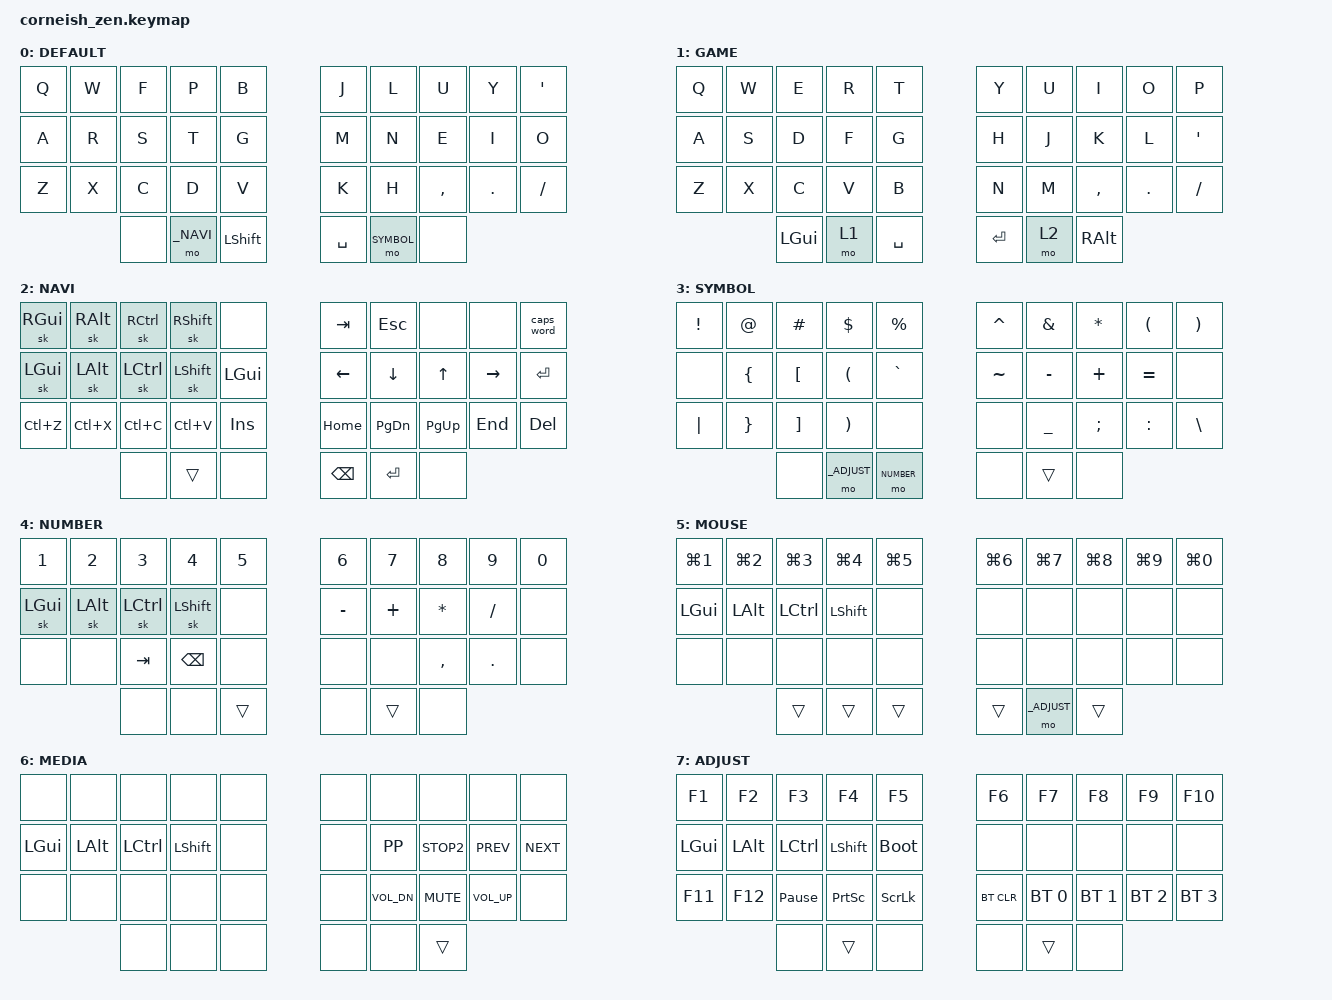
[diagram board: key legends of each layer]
#include <behaviors.dtsi>
#include <dt-bindings/zmk/keys.h>
#include <dt-bindings/zmk/bt.h>

#define _DEFAULT 0
#define _GAME 1
#define _NAVI 2
#define _SYMBOL 3
#define _NUMBER 4
#define _MOUSE 5
#define _MEDIA 6
#define _ADJUST 7

#define TAPPING_TERM 150
#define QUICK_TAP 200

/* Key index
 0  1  2  3  4         5  6  7  8  9
10 11 12 13 14        15 16 17 18 19
20 21 22 23 24        25 26 27 28 29
        30 31 32    33 34 35         */

/* Layers (momentary) */
#define LY_SYM &mo _SYMBOL
#define LY_NAV &mo _NAVI
#define LY_NUM &mo _NUMBER
#define LY_ADJ &mo _ADJUST

/* Layer taps */
#define ESC_NAV &lt _NAVI ESC
#define SPC_NUM &lt _NUMBER SPC
#define RET_SYM &lt _SYMBOL RET

/* Mod taps */
#define BSP_SFT &mt LSHFT BSPC

/ {
    combos {
        compatible = "zmk,combos";
        // Umlauts; requires EUR keymap
        combo_uauml {
            timeout-ms = <50>;
            key-positions = <0 1>;
            bindings = <&kp RA(LS(A))>;
        };
        combo_uouml {
            timeout-ms = <50>;
            key-positions = <0 2>;
            bindings = <&kp RA(LS(O))>;
        };
        combo_uuuml {
            timeout-ms = <50>;
            key-positions = <0 3>;
            bindings = <&kp RA(LS(U))>;
        };
        combo_lauml {
            timeout-ms = <50>;
            key-positions = <20 21>;
            bindings = <&kp RA(A)>;
        };
        combo_louml {
            timeout-ms = <50>;
            key-positions = <20 22>;
            bindings = <&kp RA(O)>;
        };
        combo_luuml {
            timeout-ms = <50>;
            key-positions = <20 23>;
            bindings = <&kp RA(U)>;
        };
        combo_lsuml {
            timeout-ms = <50>;
            key-positions = <20 24>;
            bindings = <&kp RA(S)>;
        };
    };
};

&lt {
    tapping-term-ms = <TAPPING_TERM>;
    quick-tap-ms = <QUICK_TAP>;
};

/ {
    behaviors {
        hm: homerow_mods {
            compatible = "zmk,behavior-hold-tap";
            label = "HOMEROW_MODS";
            #binding-cells = <2>;
            tapping-term-ms = <TAPPING_TERM>;
            quick-tap-ms = <QUICK_TAP>;
            flavor = "tap-preferred";
            bindings = <&kp>, <&kp>;
        };
    };
};

/ {
  chosen {
    zmk,matrix_transform = &five_column_transform;
  };
};

/ {
        keymap {
                compatible = "zmk,keymap";

                default_layer {
                        label = "DEFAULT";
                        bindings = <
   &kp Q      &kp W           &kp F           &kp P       &kp B        &kp J            &kp L        &kp U        &kp Y      &kp SQT
   &kp A      &kp R           &kp S           &kp T       &kp G        &kp M            &kp N        &kp E        &kp I      &kp O
   &kp Z      &kp X           &kp C           &kp D       &kp V        &kp K            &kp H        &kp COMMA    &kp DOT    &kp FSLH
              &none           LY_NAV          &kp LSHFT                                 &kp SPC      LY_SYM       &none
                        >;
                };

                game_layer {
                        label = "GAME";
                        bindings = <
   &kp Q      &kp W      &kp E       &kp R       &kp T   &kp Y &kp U        &kp I        &kp O      &kp P
   &kp A      &kp S      &kp D       &kp F       &kp G   &kp H &kp J        &kp K        &kp L      &kp SQT
   &kp Z      &kp X      &kp C       &kp V       &kp B   &kp N &kp M        &kp COMMA    &kp DOT    &kp FSLH
              &kp LGUI   &mo 1       &kp SPACE                 &kp RET      &mo 2        &kp RALT
                        >;
                };

                navi_layer {
                        label = "NAVI";
                        bindings = <
   &sk RGUI   &sk RALT   &sk RCTRL   &sk RSHFT   &none        &kp TAB     &kp ESC      &none       &none      &caps_word
   &sk LGUI   &sk LALT   &sk LCTRL   &sk LSHFT   &kp LGUI     &kp LEFT    &kp DOWN     &kp UP      &kp RIGHT  &kp ENTER
   &kp LC(Z)  &kp LC(X)  &kp LC(C)   &kp LC(V)   &kp INS      &kp HOME    &kp PG_DN    &kp PG_UP   &kp END    &kp DEL
              &none      &trans      &none                                &kp BSPC     &kp RET     &none
                        >;
                };

                symbol_layer {
                        label = "SYMBOL";
                        bindings = <
   &kp EXCL   &kp AT       &kp HASH     &kp DLLR    &kp PRCNT  &kp CARET &kp AMPS  &kp STAR  &kp LPAR  &kp RPAR
   &none      &kp LBRC     &kp LBKT     &kp LPAR    &kp GRAVE  &kp TILDE &kp MINUS &kp PLUS  &kp EQUAL &none
   &kp PIPE   &kp RBRC     &kp RBKT     &kp RPAR    &none      &none     &kp UNDER &kp SEMI  &kp COLON &kp BSLH
              &none        LY_ADJ       LY_NUM                 &none     &trans    &none
                        >;
                };

                number_layer {
                        label = "NUMBER";
                        bindings = <
   &kp N1     &kp N2    &kp N3    &kp N4       &kp N5     &kp N6    &kp N7    &kp N8    &kp N9    &kp N0
   &sk LGUI   &sk LALT  &sk LCTRL &sk LSHFT    &none      &kp MINUS &kp PLUS  &kp STAR  &kp FSLH  &none
   &none      &none     &kp TAB   &kp BSPC     &none      &none     &none     &kp COMMA &kp DOT   &none
              &none     &none     &trans                            &none     &trans    &none
                        >;
                };

                mouse_layer {
                        label = "MOUSE";
                        bindings = <
   &kp LG(N1) &kp LG(N2) &kp LG(N3)  &kp LG(4)   &kp LG(5)  &kp LG(6) &kp LG(7)    &kp LG(8)    &kp LG(9)  &kp LG(0)
   &kp LGUI   &kp LALT   &kp LCTRL   &kp LSHFT   &none      &none     &none        &none        &none      &none
   &none      &none      &none       &none       &none      &none     &none        &none        &none      &none
              &trans     &trans      &trans                           &trans       LY_ADJ       &trans
                        >;
                };

                media_layer {
                        label = "MEDIA";
                        bindings = <
   &none      &none      &none       &none       &none      &none       &none         &none         &none          &none
   &kp LGUI   &kp LALT   &kp LCTRL   &kp LSHFT   &none      &none       &kp K_PP      &kp K_STOP2   &kp K_PREV     &kp K_NEXT
   &none      &none      &none       &none       &none      &none       &kp K_VOL_DN  &kp K_MUTE    &kp K_VOL_UP   &none
              &none      &none       &none                              &none         &none         &trans
                        >;
                };

                adjust_layer {
                        label = "ADJUST";
                        bindings = <
   &kp F1      &kp F2       &kp F3          &kp F4      &kp F5           &kp F6      &kp F7        &kp F8        &kp F9        &kp F10
   &kp LGUI    &kp LALT     &kp LCTRL       &kp LSHFT   &bootloader      &none       &none         &none         &none         &none
   &kp F11     &kp F12      &kp PAUSE_BREAK &kp PSCRN   &kp SLCK         &bt BT_CLR  &bt BT_SEL 0  &bt BT_SEL 1  &bt BT_SEL 2  &bt BT_SEL 3
               &none        &trans          &none                                    &none         &trans        &none
                        >;
                };

        };
};
